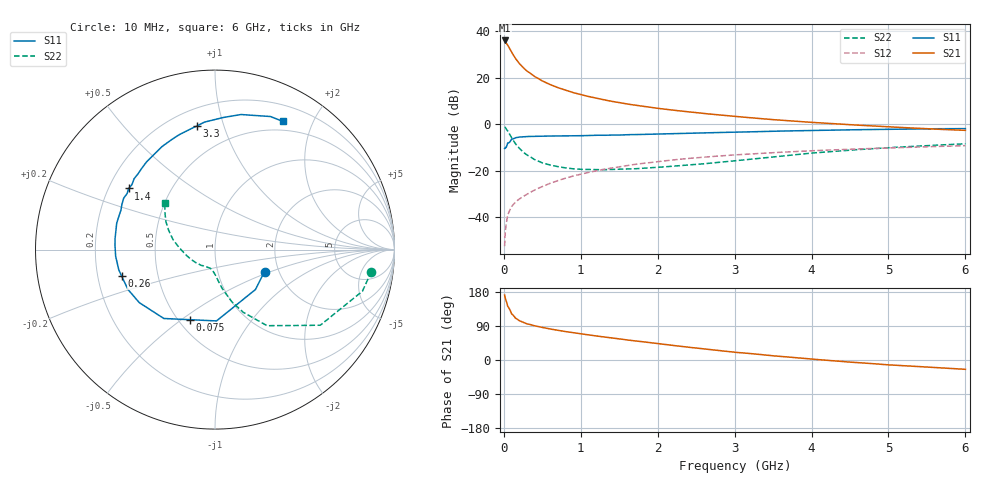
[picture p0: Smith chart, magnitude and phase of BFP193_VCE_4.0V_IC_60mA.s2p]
! Infineon Technologies  Discrete & RF Semiconductors
! BFP193
! VCE = 4.0 V,  IC =  60 mA
! Common Emitter S-Parameters:  Jan 2016
# GHz  S  MA  R  50
!  f  S11  S21  S12  S22
! GHz  MAG  ANG  MAG  ANG  MAG  ANG  MAG  ANG
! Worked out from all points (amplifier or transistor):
!   210 points, 10 MHz to 6 GHz, reference 50 ohm
!   highest |S21| = 36.1 dB at 10 MHz (marker M1)
!   |S21| within 3 dB of that: start of sweep to 66.64 MHz
!   unconditionally stable (mu >= 1): 483.4 MHz to 3.955 GHz
!   at 185 MHz: K = 0.72, MSG = 29.7 dB, |S12| = -32.5 dB
!   at 1.52 GHz: K = 1.08, MAG = 12.0 dB, |S12| = -18.1 dB
!   at 6 GHz: K = 0.94, MSG = 3.3 dB, |S12| = -9.2 dB
!   S11 on the Smith chart (normalised r, x): 10 MHz: 1.69, -0.45; 75 MHz: 0.57, -0.54; 260 MHz: 0.30, -0.13; 1.4 GHz: 0.28, +0.29; 3.3 GHz: 0.31, +0.82; 6 GHz: 0.39, +1.59
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0.01  0.3018 -23.9  63.65 171.3  0.0024 79.4  0.8799 -8.0
0.02  0.3167 -44.7  60.53 162.1  0.005 76.2  0.8534 -15.8
0.05  0.3975 -88.8  50.66 142.3  0.0111 67.1  0.7223 -35.7
0.075  0.4144 -109.5  42.41 134.0  0.014 62.1  0.6091 -44.0
0.1  0.4781 -126.6  35.44 122.2  0.017 58.9  0.514 -55.6
0.15  0.5151 -145.0  26.1 110.7  0.0211 56.1  0.3835 -65.7
0.2  0.5333 -155.4  20.45 103.8  0.0247 58.1  0.3069 -72.0
0.26  0.5407 -164.1  16.09 98.4  0.0287 59.1  0.2462 -76.8
0.3  0.5478 -168.1  14.01 95.5  0.0314 60.3  0.2203 -79.5
0.4  0.5548 -176.2  10.69 90.2  0.0386 63.5  0.1745 -84.2
0.5  0.5575 178.4  8.574 85.8  0.046 64.7  0.1484 -87.8
0.6  0.5602 173.7  7.181 81.8  0.0538 65.2  0.1331 -91.2
0.7  0.5625 168.7  6.181 78.2  0.0615 65.5  0.123 -94.6
0.9  0.5669 161.2  4.821 72.0  0.0772 64.6  0.1107 -100.2
1.02  0.5697 156.7  4.278 68.6  0.0861 63.9  0.1077 -103.6
1.4  0.5894 144.7  3.126 58.3  0.1148 60.2  0.107 -115.3
2.02  0.6209 127.3  2.19 42.8  0.1597 52.3  0.1197 -136.5
3.1  0.6834 102.1  1.436 18.9  0.2251 38.1  0.1704 -172.6
3.3  0.6966 98.3  1.346 15.2  0.2355 35.6  0.1838 -178.1
4.1  0.7423 84.9  1.078 0.8  0.2748 25.9  0.248 164.5
5.1  0.7846 71.9  0.869 -13.9  0.3146 14.7  0.3215 148.7
6  0.8084 62.1  0.743 -24.6  0.348 5.1  0.3816 136.9
